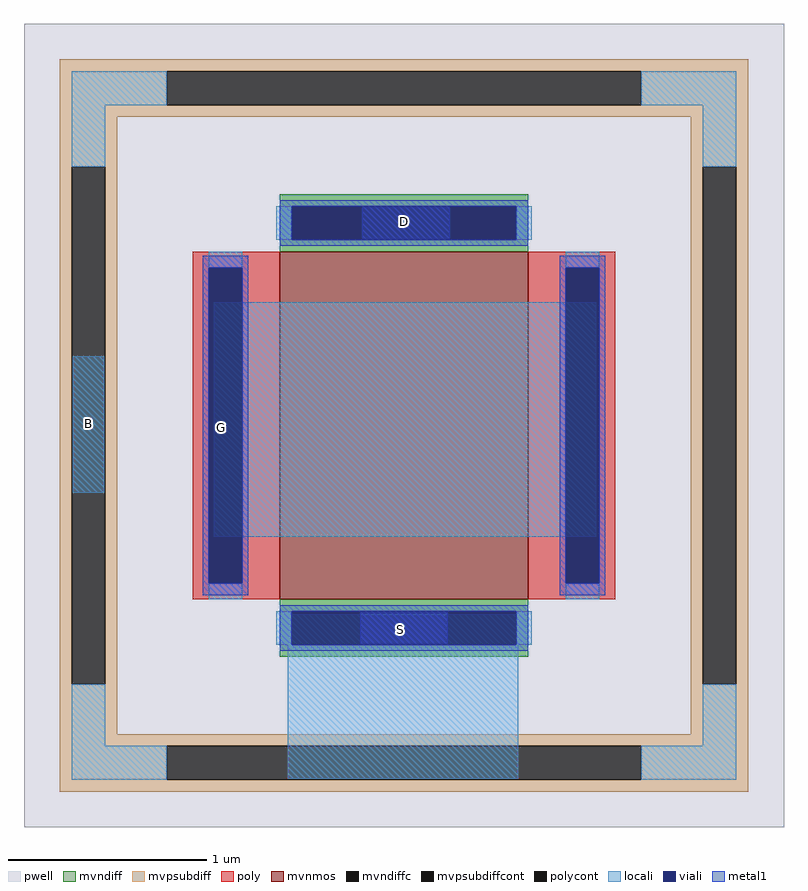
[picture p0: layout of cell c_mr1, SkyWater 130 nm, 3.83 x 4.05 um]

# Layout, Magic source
magic
tech sky130A
magscale 1 2
<< locali >>
rect -14 280 18 418
rect 128 236 514 472
rect 203 -8 435 158
<< metal1 >>
rect 278 536 366 568
rect 276 128 364 160
use sky130_fd_pr__nfet_g5v0d10v5_373ZFR  sky130_fd_pr__nfet_g5v0d10v5_373ZFR_0
transform 0 1 320 -1 0 348
box -405 -383 405 383
<< labels >>
flabel metal1 320 554 320 554 0 FreeSans 800 0 0 0 D
port 0 nsew
flabel locali 136 346 136 346 0 FreeSans 800 0 0 0 G
port 1 nsew
flabel metal1 316 142 316 142 0 FreeSans 800 0 0 0 S
port 2 nsew
flabel locali 2 350 2 350 0 FreeSans 800 0 0 0 B
port 3 nsew
<< end >>

# cell sky130_fd_pr__nfet_g5v0d10v5_373ZFR: kit device sky130_fd_pr__nfet_g5v0d10v5, w 1.25 l 1.75 m 1 nf 1 diffcov 100 polycov 100 guard 1 glc 1 grc 1 gtc 1 gbc 1 tbcov 100 rlcov 100 topc 1 botc 1 poverlap 0 doverlap 1 lmin 0.50 wmin 0.42 class mosfet compatible {sky130_fd_pr__nfet_01v8 sky130_fd_pr__nfet_01v8_lvt sky130_fd_bs_flash__special_sonosfet_star sky130_fd_pr__nfet_g5v0d10v5 sky130_fd_pr__nfet_05v0_nvt sky130_fd_pr__nfet_03v3_nvt} full_metal 1 conn_gates 0 viasrc 100 viadrn 100 viagate 100 viagb 0 viagr 0 viagl 0 viagt 0 doports 1
